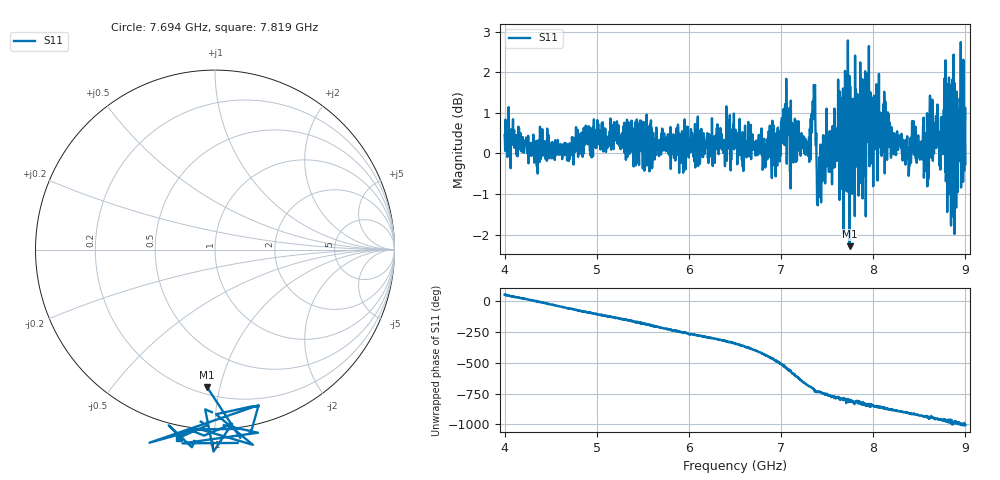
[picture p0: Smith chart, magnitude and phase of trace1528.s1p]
! Created with skrf 1.8.0 (http://scikit-rf.org).
# Hz S RI R 50.0
!freq ReS11 ImS11
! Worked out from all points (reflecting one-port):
!   1601 points, 4 GHz to 9 GHz, reference 50 ohm
!   lowest |S11| = -2.3 dB at 7.744 GHz (marker M1), VSWR 7.65, Z = 12.2 - j45.7 ohm
!   phase of S11 starts at 50 deg and turns -1056 deg over the sweep
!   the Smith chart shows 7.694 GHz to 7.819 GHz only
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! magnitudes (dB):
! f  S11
! 4 GHz  0.5
! 4.625 GHz  -0.1
! 5.25 GHz  0.2
! 5.875 GHz  0.2
! 6.5 GHz  0.2
! 6.825 GHz  0.0
! 6.962 GHz  0.6
! 7.069 GHz  0.7
! 7.125 GHz  0.5
! 7.294 GHz  -0.1
! 7.347 GHz  1.0
! 7.362 GHz  1.6
! 7.409 GHz  -1.1
! 7.481 GHz  -0.5
! 7.631 GHz  1.3
! 7.744 GHz  -2.3
! 7.75 GHz  1.7
! 7.897 GHz  0.0
! 7.95 GHz  0.7
! 7.981 GHz  0.2
! 8.05 GHz  0.9
! 8.375 GHz  -0.1
! 8.441 GHz  0.0
! 8.738 GHz  0.9
! 8.788 GHz  -0.7
! 8.869 GHz  -0.5
! 8.953 GHz  -0.8
! 9 GHz  -0.3
